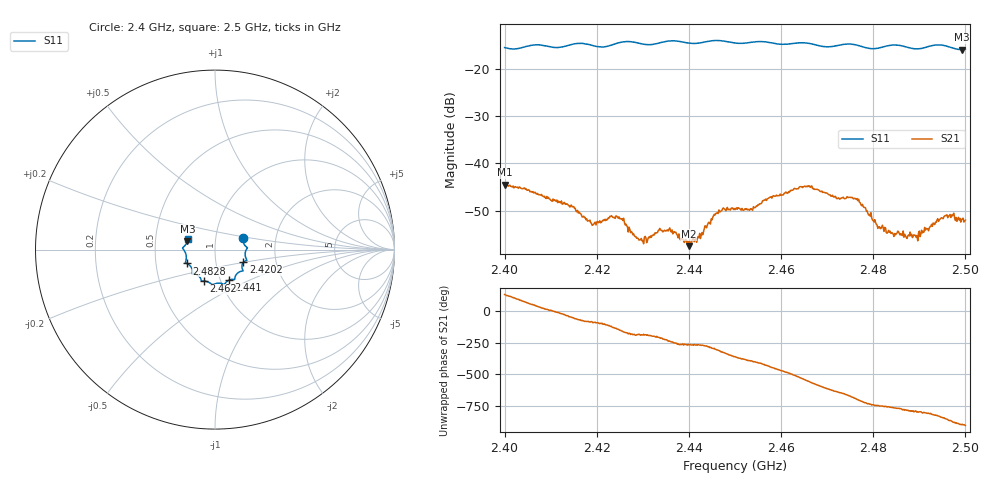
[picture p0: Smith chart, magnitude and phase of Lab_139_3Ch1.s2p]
# Hz S RI R 50
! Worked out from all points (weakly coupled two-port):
!   601 points, 2.4 GHz to 2.5 GHz, reference 50 ohm
!   highest |S21| = -44.50 dB at 2.4 GHz (marker M1); lowest = -57.6 dB at 2.44 GHz (marker M2)
!   lowest |S11| = -15.9 dB at 2.4992 GHz (marker M3), VSWR 1.38, Z = 36.5 + j3.64 ohm
!   |S11| at or under -10 dB: start of sweep to end of sweep
!   S12 and S22 are empty: the file has one direction only
!   S11 on the Smith chart (normalised r, x): 2.4 GHz: 1.36, +0.18; 2.4202 GHz: 1.36, -0.20; 2.441 GHz: 1.10, -0.39; 2.462 GHz: 0.84, -0.30; 2.4828 GHz: 0.72, -0.12; 2.5 GHz: 0.73, +0.09
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2.4e9  0.1572 0.0627  -0.00365 0.00471  0 0  0 0
2.413333e9  0.1706 -0.043  0.00299 -0.00217  0 0  0 0
2.416667e9  0.1778 -0.0601  0.000619 -0.00278  0 0  0 0
2.420167e9  0.1583 -0.0706  -0.000116 -0.00243  0 0  0 0
2.424667e9  0.1539 -0.111  -0.00216 -0.00149  0 0  0 0
2.429667e9  0.1398 -0.1224  -0.00158 0.000228  0 0  0 0
2.433333e9  0.1124 -0.1508  -0.00172 0.000915  0 0  0 0
2.435833e9  0.1104 -0.1656  -0.00105 0.00178  0 0  0 0
2.44e9  0.0887 -0.1666  -5.19e-05 0.00132  0 0  0 0
2.441e9  0.0785 -0.1698  3.78e-05 0.00158  0 0  0 0
2.446e9  0.051 -0.1948  0.00178 0.00238  0 0  0 0
2.45e9  0.0286 -0.187  0.00324 -2.16e-05  0 0  0 0
2.453333e9  -0.00265 -0.1919  0.0027 -0.0019  0 0  0 0
2.462e9  -0.0603 -0.1754  -0.00361 -0.0037  0 0  0 0
2.466667e9  -0.0776 -0.1682  -0.00516 0.00259  0 0  0 0
2.476333e9  -0.1259 -0.1291  0.00371 0.00185  0 0  0 0
2.482833e9  -0.1575 -0.0774  0.00156 -0.00098  0 0  0 0
2.483333e9  -0.1606 -0.0762  0.00162 -0.0011  0 0  0 0
2.489167e9  -0.1604 -0.0347  0.000683 -0.00158  0 0  0 0
2.4955e9  -0.1772 0.0131  -0.00162 -0.00225  0 0  0 0
2.499167e9  -0.1538 0.0485  -0.00253 -0.000197  0 0  0 0
2.5e9  -0.1515 0.0608  -0.00251 6.97e-05  0 0  0 0
